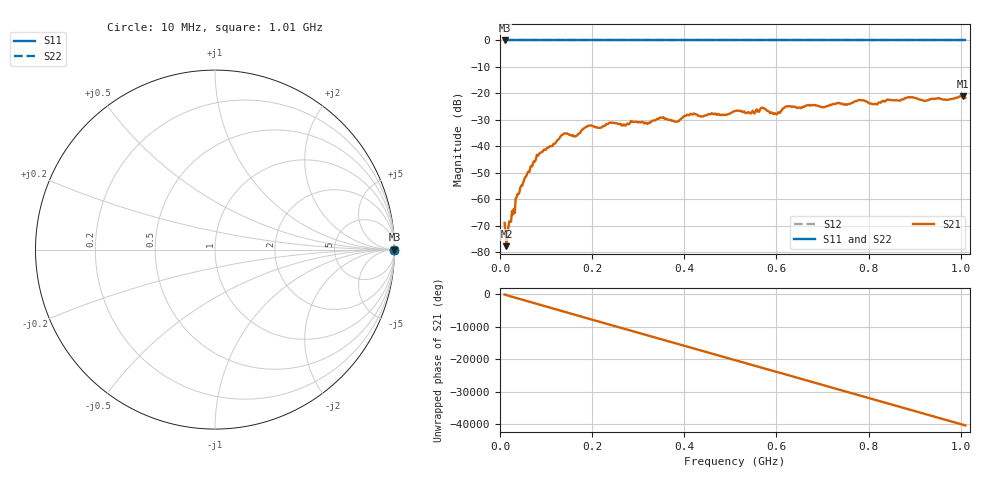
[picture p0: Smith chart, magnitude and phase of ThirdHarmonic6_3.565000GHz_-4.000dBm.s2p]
! 8/17/2025 11:47:57 AM
! C:\ANRITSUVNA\TEMP\TEMP.S2P
! CHANNEL.1
! TR.MEASUREMENT
! RAW.DATA
! RF.CORRECTION.OFF
! AVERAGING.OFF
! IF.BANDWIDTH: 5KHZ
! SWEEPTYPE:  FREQ.SWEEP(Linear)
! Reference Plane Port Info
! PORT:  PORT1  PORT2
! DISTANCE:  0  m  0  m
! TIME:  0  s  0  s
! PHASE.OFFSET:  0  deg.  0  deg.
! LOSS:  0  dB  0  dB
! REF.LOSS:  0  dB  0  dB
! REF.FREQ:  0  Hz  0  Hz
! Power Info
! POWER:  -20  dBm  -20  dBm
! EFF.POWER:  -20  dBm  -20  dBm
! SOURCE.ATTEN:  0  dB  0  dB
! TEST.ATTEN:  0  dB  0  dB
# GHZ S RI R 50.0
! FREQ.GHZ  S11RE  S11IM  S21RE  S21IM  S12RE  S12IM  S22RE  S22IM
!; PortSelection: Port_12
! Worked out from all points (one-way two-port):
!   501 points, 10 MHz to 1.01 GHz, reference 50 ohm
!   highest |S21| = -21.04 dB at 1.004 GHz (marker M1); lowest = -77.6 dB at 14 MHz (marker M2)
!   lowest |S11| = 0.0 dB at 10 MHz (marker M3)
!   |S11| at or under -10 dB: nowhere
!   |S22| runs from 0.0 to 0.0 dB; largest |S21 - S12| = 1.1
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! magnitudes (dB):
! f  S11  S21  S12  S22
! 10 MHz  0.0  -68.8  0.0  0.0
! 14 MHz  0.0  -77.6  0.0  0.0
! 18 MHz  0.0  -70.9  0.0  0.0
! 38 MHz  0.0  -57.9  0.0  0.0
! 84 MHz  0.0  -43.2  0.0  0.0
! 136 MHz  0.0  -35.6  0.0  0.0
! 164 MHz  0.0  -36.1  0.0  0.0
! 178 MHz  0.0  -33.7  0.0  0.0
! 194 MHz  0.0  -32.1  0.0  0.0
! 318 MHz  0.0  -31.3  0.0  0.0
! 344 MHz  0.0  -29.6  0.0  0.0
! 384 MHz  0.0  -30.7  0.0  0.0
! 410 MHz  0.0  -28.2  0.0  0.0
! 510 MHz  0.0  -26.6  0.0  0.0
! 570 MHz  0.0  -25.4  0.0  0.0
! 598 MHz  0.0  -27.6  0.0  0.0
! 622 MHz  0.0  -24.9  0.0  0.0
! 678 MHz  0.0  -24.5  0.0  0.0
! 814 MHz  0.0  -23.9  0.0  0.0
! 844 MHz  0.0  -22.4  0.0  0.0
! 1.004 GHz  0.0  -21.0  0.0  0.0
! 1.01 GHz  0.0  -21.7  0.0  0.0
